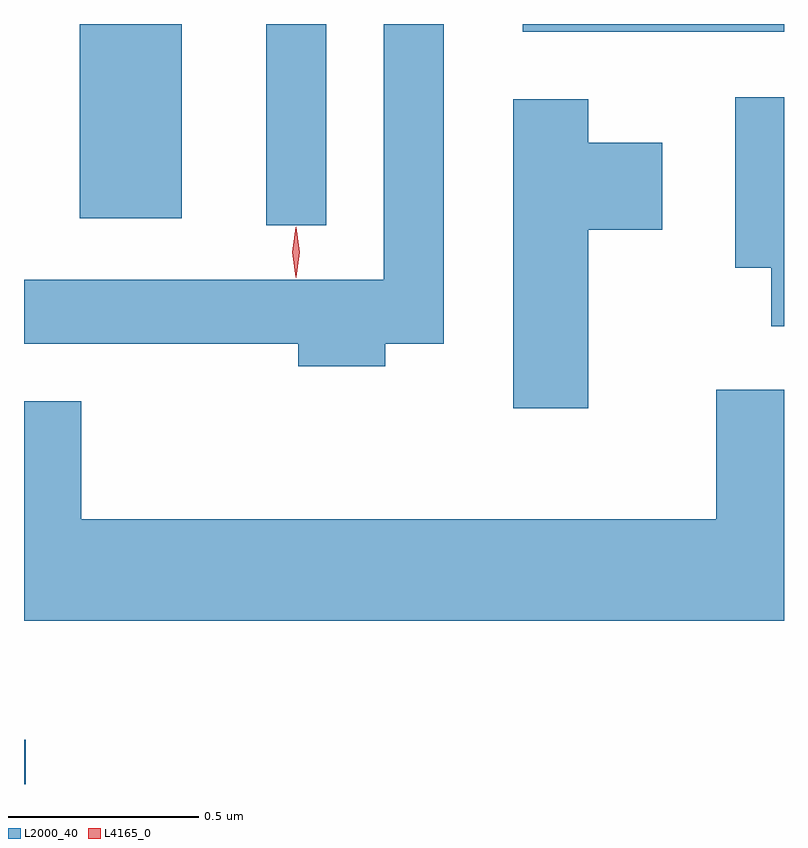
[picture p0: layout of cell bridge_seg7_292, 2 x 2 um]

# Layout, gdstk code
import gdstk
lib = gdstk.Library(unit=1e-6, precision=1e-09)
def R(c, l, rs):  # rectangles x0, y0, x1, y1
    for r in rs: c.add(gdstk.rectangle(r[:2], r[2:], *l))
def P(c, l, *ps):  # polygons
    for p in ps: c.add(gdstk.Polygon(p, *l))
L2000_40 = (2000, 40)
L4165_0 = (4165, 0)

bridge_seg7_292 = lib.new_cell('bridge_seg7_292')
R(bridge_seg7_292, L2000_40, [(1336.219,1787.147,1336.224,1787.264), (1336.856,1788.618,1337.014,1789.147), (1336.366,1788.636,1336.634,1789.147), (1337.531,1789.126,1338.219,1789.147)])
P(bridge_seg7_292, L2000_40, [(1337.169,1788.306),(1337.324,1788.306),(1337.324,1789.147),(1337.166,1789.147),(1337.166,1788.474),(1336.219,1788.474),(1336.219,1788.306),(1336.941,1788.306),(1336.941,1788.246),(1337.169,1788.246)],
  [(1338.219,1788.954),(1338.091,1788.954),(1338.091,1788.506),(1338.186,1788.506),(1338.186,1788.351),(1338.219,1788.351)],
  [(1337.704,1788.606),(1337.899,1788.606),(1337.899,1788.834),(1337.704,1788.834),(1337.704,1788.949),(1337.506,1788.949),(1337.506,1788.136),(1337.704,1788.136)],
  [(1338.219,1788.184),(1338.041,1788.184),(1338.041,1787.844),(1336.369,1787.844),(1336.369,1788.154),(1336.219,1788.154),(1336.219,1787.576),(1338.219,1787.576)])
P(bridge_seg7_292, L4165_0, [(1336.935,1788.479),(1336.934,1788.48),(1336.925,1788.546),(1336.934,1788.612),(1336.935,1788.613),(1336.935,1788.612),(1336.945,1788.546),(1336.935,1788.48)])

lib.write_gds('bridge_seg7_292.gds')
